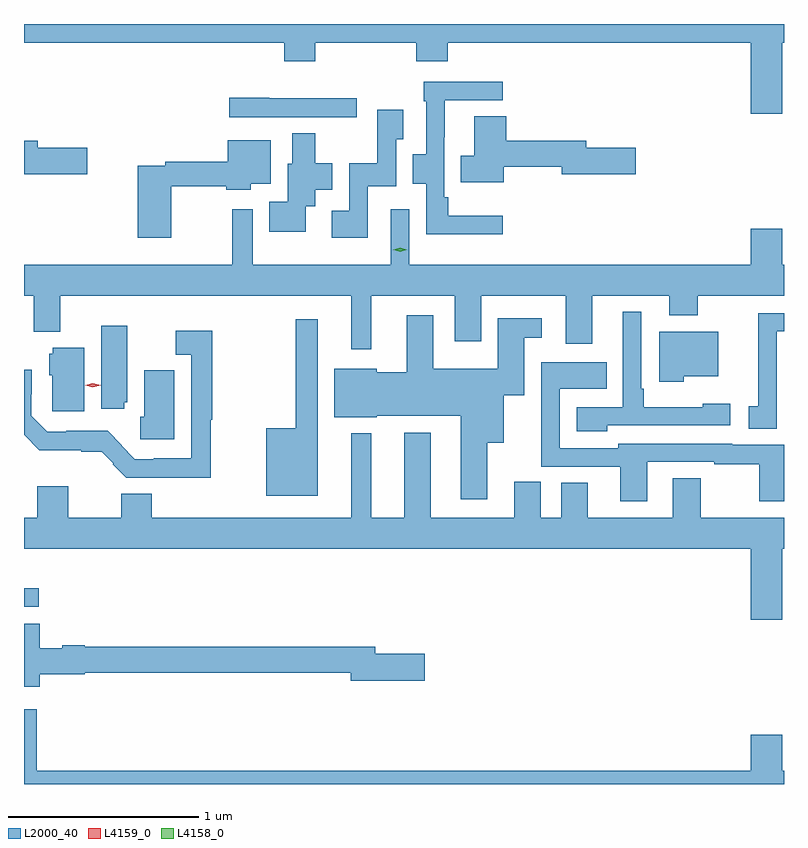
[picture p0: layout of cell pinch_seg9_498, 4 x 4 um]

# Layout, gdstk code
import gdstk
lib = gdstk.Library(unit=1e-6, precision=1e-09)
def R(c, l, rs):  # rectangles x0, y0, x1, y1
    for r in rs: c.add(gdstk.rectangle(r[:2], r[2:], *l))
def P(c, l, *ps):  # polygons
    for p in ps: c.add(gdstk.Polygon(p, *l))
L2000_40 = (2000, 40)
L4158_0 = (4158, 0)
L4159_0 = (4159, 0)

pinch_seg9_498 = lib.new_cell('pinch_seg9_498')
R(pinch_seg9_498, L2000_40, [(364.978,1166.811,365.056,1166.907)])
P(pinch_seg9_498, L2000_40, [(368.968,1169.78),(368.978,1169.78),(368.978,1169.878),(364.978,1169.878),(364.978,1169.78),(366.347,1169.78),(366.347,1169.681),(366.512,1169.681),(366.512,1169.78),(367.043,1169.78),(367.043,1169.681),(367.208,1169.681),(367.208,1169.78),(368.804,1169.78),(368.804,1169.406),(368.968,1169.406)],
  [(367.498,1168.87),(367.211,1168.87),(367.211,1168.966),(367.191,1168.966),(367.191,1169.281),(367.192,1169.281),(367.192,1169.478),(367.498,1169.478),(367.498,1169.574),(367.083,1169.574),(367.083,1169.471),(367.095,1169.471),(367.095,1169.193),(367.025,1169.193),(367.025,1169.038),(367.095,1169.038),(367.095,1168.772),(367.498,1168.772)],
  [(366.73,1169.486),(366.269,1169.486),(366.269,1169.489),(366.057,1169.489),(366.057,1169.388),(366.73,1169.388)],
  [(366.786,1169.024),(366.936,1169.024),(366.936,1169.272),(366.973,1169.272),(366.973,1169.428),(366.838,1169.428),(366.838,1169.146),(366.69,1169.146),(366.69,1168.894),(366.597,1168.894),(366.597,1168.754),(366.786,1168.754)],
  [(367.504,1169.128),(367.808,1169.128),(367.808,1169.086),(368.197,1169.086),(368.197,1169.228),(367.936,1169.228),(367.936,1169.264),(367.517,1169.264),(367.517,1169.393),(367.349,1169.393),(367.349,1169.185),(367.276,1169.185),(367.276,1169.045),(367.504,1169.045)],
  [(366.462,1168.919),(366.511,1168.919),(366.511,1169.006),(366.601,1169.006),(366.601,1169.146),(366.511,1169.146),(366.511,1169.303),(366.389,1169.303),(366.389,1169.142),(366.365,1169.142),(366.365,1168.942),(366.268,1168.942),(366.268,1168.784),(366.462,1168.784)],
  [(365.754,1169.025),(366.043,1169.025),(366.043,1169.006),(366.172,1169.006),(366.172,1169.036),(366.277,1169.036),(366.277,1169.266),(366.05,1169.266),(366.05,1169.153),(365.722,1169.153),(365.722,1169.133),(365.576,1169.133),(365.576,1168.752),(365.754,1168.752)],
  [(365.311,1169.228),(365.05,1169.228),(365.05,1169.264),(364.978,1169.264),(364.978,1169.086),(365.311,1169.086)],
  [(366.805,1168.448),(367.244,1168.448),(367.244,1168.209),(367.384,1168.209),(367.384,1168.448),(367.829,1168.448),(367.829,1168.194),(367.969,1168.194),(367.969,1168.448),(368.375,1168.448),(368.375,1168.346),(368.523,1168.346),(368.523,1168.448),(368.978,1168.448),(368.978,1168.612),(368.968,1168.612),(368.968,1168.801),(368.804,1168.801),(368.804,1168.612),(367.005,1168.612),(367.005,1168.903),(366.909,1168.903),(366.909,1168.612),(366.183,1168.612),(366.183,1168.903),(366.075,1168.903),(366.075,1168.612),(364.978,1168.612),(364.978,1168.448),(365.03,1168.448),(365.03,1168.259),(365.17,1168.259),(365.17,1168.448),(366.701,1168.448),(366.701,1168.167),(366.805,1168.167)],
  [(368.048,1167.765),(368.695,1167.765),(368.695,1167.88),(368.55,1167.88),(368.55,1167.862),(368.239,1167.862),(368.239,1167.958),(368.226,1167.958),(368.226,1168.363),(368.13,1168.363),(368.13,1167.861),(367.887,1167.861),(367.887,1167.734),(368.048,1167.734)],
  [(368.94,1168.26),(368.978,1168.26),(368.978,1168.356),(368.843,1168.356),(368.843,1167.865),(368.793,1167.865),(368.793,1167.748),(368.94,1167.748)],
  [(367.417,1167.674),(367.504,1167.674),(367.504,1167.923),(367.612,1167.923),(367.612,1168.226),(367.702,1168.226),(367.702,1168.33),(367.472,1168.33),(367.472,1168.063),(367.132,1168.063),(367.132,1168.345),(366.992,1168.345),(366.992,1168.045),(366.834,1168.045),(366.834,1168.063),(366.611,1168.063),(366.611,1167.809),(366.834,1167.809),(366.834,1167.815),(367.277,1167.815),(367.277,1167.378),(367.417,1167.378)],
  [(366.523,1168.324),(366.409,1168.324),(366.409,1167.751),(366.254,1167.751),(366.254,1167.395),(366.523,1167.395)],
  [(365.506,1167.888),(365.521,1167.888),(365.521,1168.291),(365.384,1168.291),(365.384,1167.854),(365.506,1167.854)],
  [(365.96,1167.795),(365.968,1167.795),(365.968,1168.264),(365.776,1168.264),(365.776,1168.136),(365.859,1168.136),(365.859,1167.592),(365.662,1167.592),(365.662,1167.588),(365.562,1167.588),(365.49,1167.66),(365.492,1167.662),(365.418,1167.736),(365.2,1167.736),(365.2,1167.732),(365.1,1167.732),(365.016,1167.816),(365.016,1167.929),(365.02,1167.929),(365.02,1168.057),(364.978,1168.057),(364.978,1167.717),(365.059,1167.635),(365.279,1167.635),(365.279,1167.627),(365.387,1167.627),(365.449,1167.565),(365.445,1167.561),(365.515,1167.491),(365.96,1167.491)],
  [(368.451,1168.025),(368.632,1168.025),(368.632,1168.258),(368.321,1168.258),(368.321,1167.995),(368.451,1167.995)],
  [(365.296,1168.174),(365.13,1168.174),(365.13,1168.143),(365.111,1168.143),(365.111,1168.029),(365.127,1168.029),(365.127,1167.84),(365.296,1167.84)],
  [(368.257,1167.573),(368.61,1167.573),(368.61,1167.562),(368.848,1167.562),(368.848,1167.366),(368.978,1167.366),(368.978,1167.663),(368.706,1167.663),(368.706,1167.669),(368.106,1167.669),(368.106,1167.645),(367.797,1167.645),(367.797,1167.959),(368.045,1167.959),(368.045,1168.099),(367.7,1168.099),(367.7,1167.549),(368.117,1167.549),(368.117,1167.365),(368.257,1167.365)],
  [(365.77,1168.055),(365.612,1168.055),(365.612,1167.81),(365.589,1167.81),(365.589,1167.693),(365.77,1167.693)],
  [(368.968,1167.116),(368.978,1167.116),(368.978,1167.28),(368.541,1167.28),(368.541,1167.487),(368.393,1167.487),(368.393,1167.28),(367.945,1167.28),(367.945,1167.464),(367.805,1167.464),(367.805,1167.28),(367.698,1167.28),(367.698,1167.468),(367.559,1167.468),(367.559,1167.28),(367.12,1167.28),(367.12,1167.727),(366.98,1167.727),(366.98,1167.28),(366.805,1167.28),(366.805,1167.724),(366.701,1167.724),(366.701,1167.28),(365.65,1167.28),(365.65,1167.406),(365.489,1167.406),(365.489,1167.28),(365.212,1167.28),(365.212,1167.445),(365.048,1167.445),(365.048,1167.28),(364.978,1167.28),(364.978,1167.116),(368.804,1167.116),(368.804,1166.742),(368.968,1166.742)],
  [(365.062,1166.456),(365.298,1166.456),(365.298,1166.464),(366.698,1166.464),(366.698,1166.422),(367.087,1166.422),(367.087,1166.564),(366.826,1166.564),(366.826,1166.6),(365.298,1166.6),(365.298,1166.608),(365.178,1166.608),(365.178,1166.593),(365.062,1166.593),(365.062,1166.722),(364.978,1166.722),(364.978,1166.39),(365.062,1166.39)],
  [(368.978,1165.948),(368.968,1165.948),(368.968,1166.137),(368.804,1166.137),(368.804,1165.948),(365.045,1165.948),(365.045,1166.272),(364.978,1166.272),(364.978,1165.878),(368.978,1165.878)])
P(pinch_seg9_498, L4158_0, [(366.957,1168.68),(366.921,1168.69),(366.921,1168.69),(366.921,1168.69),(366.957,1168.7),(366.993,1168.69),(366.993,1168.69),(366.993,1168.69)])
P(pinch_seg9_498, L4159_0, [(365.341,1167.967),(365.3,1167.977),(365.3,1167.977),(365.3,1167.978),(365.341,1167.987),(365.382,1167.978),(365.382,1167.977),(365.382,1167.977)])

lib.write_gds('pinch_seg9_498.gds')
